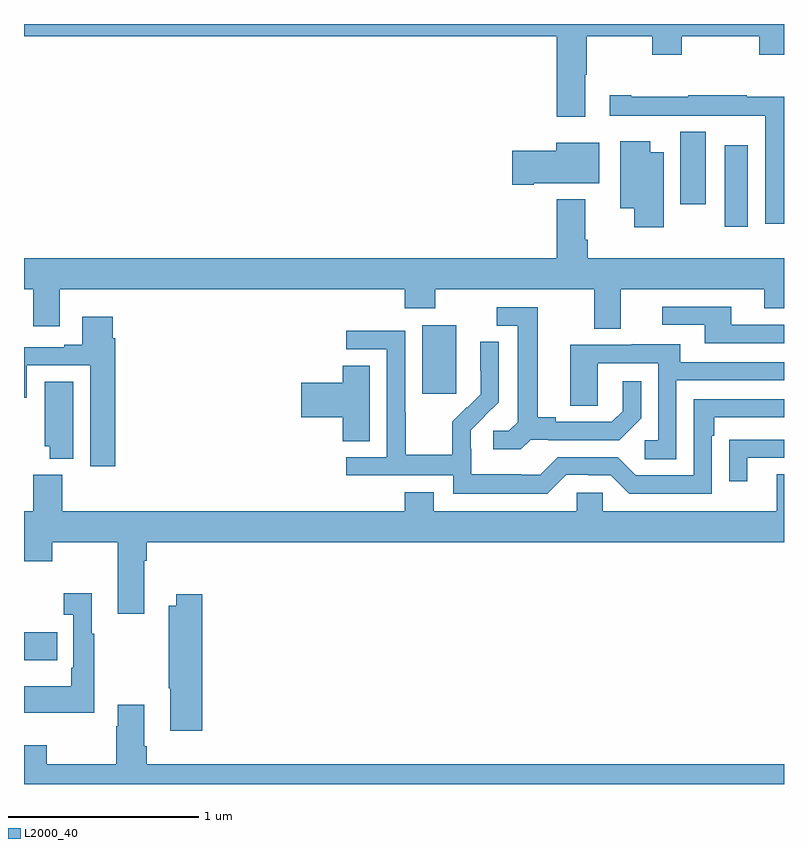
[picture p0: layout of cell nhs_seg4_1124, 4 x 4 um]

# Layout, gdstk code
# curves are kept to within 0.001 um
import gdstk
lib = gdstk.Library(unit=1e-6, precision=1e-09)
def R(c, l, rs):  # rectangles x0, y0, x1, y1
    for r in rs: c.add(gdstk.rectangle(r[:2], r[2:], *l))
def P(c, l, *ps):  # polygons
    for p in ps: c.add(gdstk.Polygon(p, *l))
L2000_40 = (2000, 40)

nhs_seg4_1124 = lib.new_cell('nhs_seg4_1124')
R(nhs_seg4_1124, L2000_40, [(169,777.551,169.175,777.699), (171.095,778.953,171.274,779.314), (172.688,779.832,172.81,780.262), (172.454,779.952,172.588,780.332)])
P(nhs_seg4_1124, L2000_40, [(171.955,780.632),(171.963,780.632),(171.963,780.836),(172.306,780.836),(172.306,780.737),(172.461,780.737),(172.461,780.836),(172.87,780.836),(172.87,780.737),(173,780.737),(173,780.9),(169,780.9),(169,780.836),(171.803,780.836),(171.803,780.411),(171.955,780.411)],
  [(173,780.516),(172.805,780.516),(172.805,780.526),(172.495,780.526),(172.495,780.516),(172.195,780.516),(172.195,780.526),(172.083,780.526),(172.083,780.416),(172.358,780.416),(172.358,780.417),(172.692,780.417),(172.692,780.416),(172.902,780.416),(172.902,779.85),(173,779.85)],
  [(172.366,780.226),(172.297,780.226),(172.297,780.283),(172.139,780.283),(172.139,779.93),(172.211,779.93),(172.211,779.829),(172.366,779.829)],
  [(171.682,780.062),(172.027,780.062),(172.027,780.274),(171.8,780.274),(171.8,780.233),(171.57,780.233),(171.57,780.055),(171.682,780.055)],
  [(172.141,779.504),(172.895,779.504),(172.895,779.405),(173,779.405),(173,779.668),(171.968,779.668),(171.968,779.764),(171.955,779.764),(171.955,779.977),(171.803,779.977),(171.803,779.668),(169,779.668),(169,779.504),(169.049,779.504),(169.049,779.31),(169.189,779.31),(169.189,779.504),(171.005,779.504),(171.005,779.405),(171.165,779.405),(171.165,779.504),(172.001,779.504),(172.001,779.296),(172.141,779.296)],
  [(173,779.316),(172.723,779.316),(172.723,779.412),(172.359,779.412),(172.359,779.316),(172.583,779.316),(172.583,779.22),(173,779.22)],
  [(171.666,778.713),(171.76,778.713),(171.76,778.71),(172.132,778.71),(172.248,778.826),(172.248,779.02),(172.151,779.02),(172.151,778.863),(172.094,778.806),(171.799,778.806),(171.799,778.829),(171.703,778.829),(171.703,779.409),(171.489,779.409),(171.489,779.313),(171.599,779.313),(171.599,778.805),(171.552,778.758),(171.471,778.758),(171.471,778.661),(171.614,778.661)],
  [(169.481,779.246),(169.468,779.246),(169.468,779.359),(169.307,779.359),(169.307,779.212),(169.211,779.212),(169.211,779.199),(169,779.199),(169,778.932),(169.015,778.932),(169.015,779.103),(169.349,779.103),(169.349,778.572),(169.481,778.572)],
  [(171.855,778.527),(171.971,778.527),(171.971,778.524),(172.089,778.524),(172.185,778.428),(172.62,778.428),(172.62,778.733),(172.633,778.733),(172.633,778.83),(173,778.83),(173,778.926),(172.524,778.926),(172.524,778.524),(172.221,778.524),(172.125,778.62),(171.81,778.62),(171.717,778.527),(171.617,778.527),(171.617,778.531),(171.354,778.531),(171.354,778.665),(171.352,778.665),(171.352,778.762),(171.498,778.91),(171.498,779.228),(171.402,779.228),(171.402,779.074),(171.404,779.074),(171.404,778.952),(171.333,778.881),(171.33,778.884),(171.253,778.807),(171.253,778.633),(171.009,778.633),(171.009,778.856),(171.006,778.856),(171.006,779.286),(170.697,779.286),(170.697,779.187),(170.91,779.187),(170.91,778.62),(170.697,778.62),(170.697,778.524),(171.258,778.524),(171.258,778.427),(171.755,778.427)],
  [(172.434,779.025),(173,779.025),(173,779.121),(172.453,779.121),(172.453,779.215),(172.199,779.215),(172.199,779.211),(171.875,779.211),(171.875,778.891),(172.02,778.891),(172.02,779.115),(172.338,779.115),(172.338,778.71),(172.266,778.71),(172.266,778.609),(172.434,778.609)],
  [(170.821,779.102),(170.678,779.102),(170.678,779.012),(170.46,779.012),(170.46,778.829),(170.678,778.829),(170.678,778.705),(170.821,778.705)],
  [(169.258,779.018),(169.109,779.018),(169.109,778.677),(169.136,778.677),(169.136,778.613),(169.258,778.613)],
  [(172.807,778.617),(173,778.617),(173,778.713),(172.813,778.713),(172.813,778.712),(172.711,778.712),(172.711,778.494),(172.807,778.494)],
  [(169.633,778.076),(169.646,778.076),(169.646,778.172),(173,778.172),(173,778.531),(172.961,778.531),(172.961,778.336),(172.047,778.336),(172.047,778.434),(171.909,778.434),(171.909,778.336),(171.157,778.336),(171.157,778.435),(171.005,778.435),(171.005,778.336),(169.202,778.336),(169.202,778.528),(169.049,778.528),(169.049,778.336),(169,778.336),(169,778.172),(169.001,778.172),(169.001,778.073),(169.149,778.073),(169.149,778.172),(169.493,778.172),(169.493,777.795),(169.633,777.795)],
  [(169.369,777.691),(169.357,777.691),(169.357,777.904),(169.209,777.904),(169.209,777.791),(169.26,777.791),(169.26,777.511),(169.248,777.511),(169.248,777.415),(169,777.415),(169,777.275),(169.369,777.275)],
  [(169.937,777.898),(169.802,777.898),(169.802,777.838),(169.762,777.838),(169.762,777.403),(169.769,777.403),(169.769,777.18),(169.937,777.18)],
  [(173,777.004),(169.646,777.004),(169.646,777.1),(169.633,777.1),(169.633,777.316),(169.493,777.316),(169.493,777.203),(169.486,777.203),(169.486,777.004),(169.119,777.004),(169.119,777.103),(169,777.103),(169,776.9),(173,776.9)])

lib.write_gds('nhs_seg4_1124.gds')
